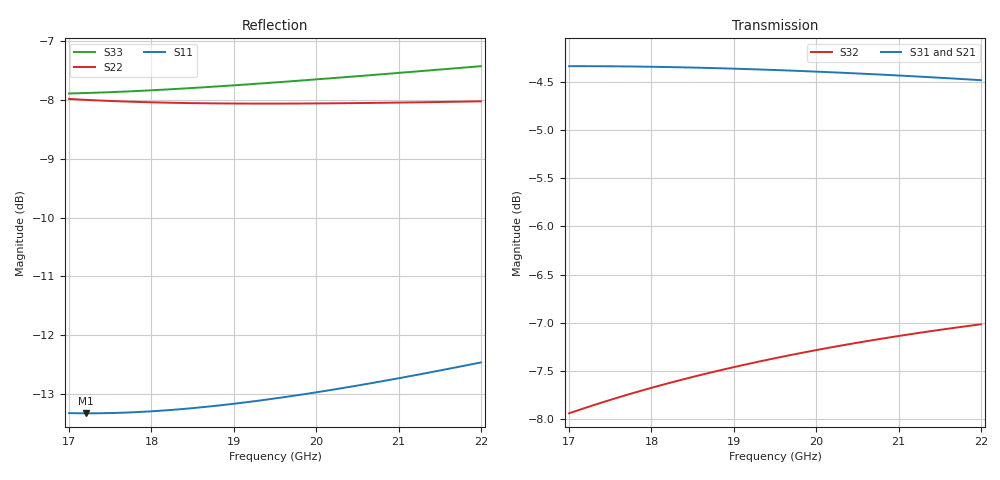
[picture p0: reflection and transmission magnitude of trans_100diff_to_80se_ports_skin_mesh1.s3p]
#  GHZ S DB R 50.0
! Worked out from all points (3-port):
!   51 points, 17 GHz to 22 GHz, reference 50 ohm
!   strongest paths, dB at 17 GHz, 18.2 GHz, 19.5 GHz, 20.8 GHz, 22 GHz:
!     S31: -4.3, -4.3, -4.4, -4.4, -4.5
!     S21: -4.5, -4.5, -4.4, -4.4, -4.4
!     S32: -7.9, -7.6, -7.4, -7.2, -7.0
!   lowest |S11| = -13.3 dB at 17.2 GHz (marker M1), VSWR 1.55, Z = 75.6 + j9.05 ohm
!   |S11| at or under -10 dB: start of sweep to end of sweep
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17  -13.33 17.9  -4.51 -172.7  -4.34 6.8
    -4.51 -172.7  -7.98 95.6  -7.94 72.8
    -4.34 6.8  -7.94 72.8  -7.89 92.4
17.2  -13.33 15.4  -4.50 -174.1  -4.34 5.5
      -4.50 -174.1  -8.00 93.7  -7.88 71.4
      -4.34 5.5  -7.88 71.4  -7.88 90.5
17.7  -13.32 9.4  -4.48 -177.7  -4.34 2.1
      -4.48 -177.7  -8.03 89.0  -7.75 68.0
      -4.34 2.1  -7.75 68.0  -7.86 85.9
18.3  -13.27 2.7  -4.46 178.2  -4.35 -1.8
      -4.46 178.2  -8.05 83.7  -7.61 64.2
      -4.35 -1.8  -7.61 64.2  -7.81 80.9
18.9  -13.18 -3.6  -4.44 174.2  -4.36 -5.6
      -4.44 174.2  -8.06 78.9  -7.48 60.5
      -4.36 -5.6  -7.48 60.5  -7.76 76.2
19.5  -13.08 -9.5  -4.43 170.4  -4.38 -9.3
      -4.43 170.4  -8.06 74.4  -7.37 57.0
      -4.38 -9.3  -7.37 57.0  -7.70 71.8
20.1  -12.95 -15.1  -4.43 166.6  -4.40 -12.8
      -4.43 166.6  -8.06 70.2  -7.27 53.7
      -4.40 -12.8  -7.27 53.7  -7.64 67.8
20.7  -12.81 -20.3  -4.42 163.0  -4.42 -16.3
      -4.42 163.0  -8.05 66.3  -7.18 50.5
      -4.42 -16.3  -7.18 50.5  -7.57 64.0
21.3  -12.66 -25.2  -4.42 159.4  -4.45 -19.6
      -4.42 159.4  -8.04 62.7  -7.10 47.5
      -4.45 -19.6  -7.10 47.5  -7.51 60.5
22  -12.46 -30.6  -4.43 155.4  -4.48 -23.5
    -4.43 155.4  -8.02 58.8  -7.02 44.0
    -4.48 -23.5  -7.02 44.0  -7.43 56.6
